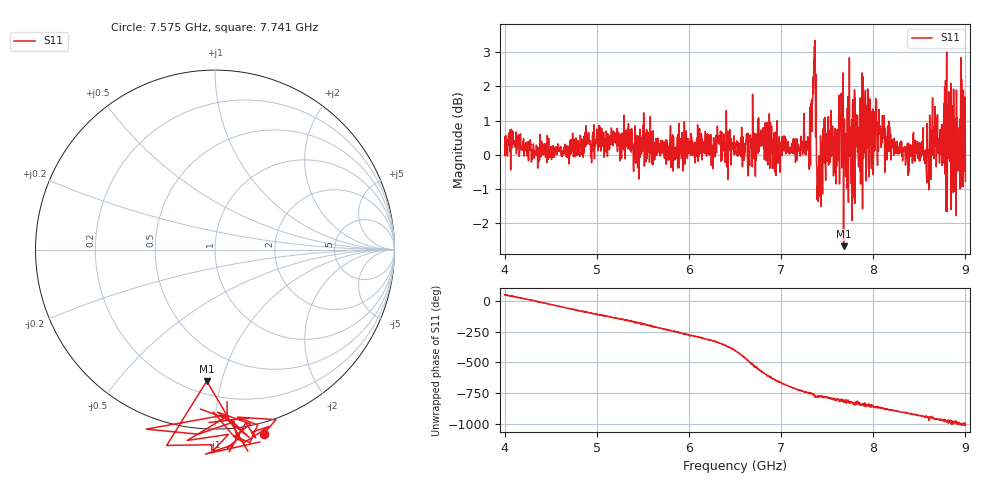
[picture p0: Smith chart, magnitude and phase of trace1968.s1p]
! Created with skrf 1.8.0 (http://scikit-rf.org).
# Hz S RI R 50.0
!freq ReS11 ImS11
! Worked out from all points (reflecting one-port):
!   1601 points, 4 GHz to 9 GHz, reference 50 ohm
!   lowest |S11| = -2.7 dB at 7.678 GHz (marker M1), VSWR 6.51, Z = 14.2 - j44.9 ohm
!   phase of S11 starts at 49 deg and turns -1050 deg over the sweep
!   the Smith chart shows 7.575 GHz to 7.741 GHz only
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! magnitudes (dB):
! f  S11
! 4 GHz  0.2
! 4.625 GHz  -0.1
! 5.25 GHz  -0.2
! 5.875 GHz  0.5
! 6.5 GHz  0.0
! 6.662 GHz  0.2
! 6.781 GHz  0.7
! 7.125 GHz  0.2
! 7.294 GHz  0.1
! 7.353 GHz  2.0
! 7.409 GHz  -1.2
! 7.481 GHz  -0.5
! 7.591 GHz  0.4
! 7.65 GHz  0.8
! 7.678 GHz  -2.7
! 7.703 GHz  -0.7
! 7.75 GHz  0.6
! 7.775 GHz  1.4
! 8.05 GHz  1.0
! 8.375 GHz  -0.3
! 8.456 GHz  -0.2
! 8.584 GHz  0.9
! 8.656 GHz  0.8
! 8.725 GHz  0.7
! 8.822 GHz  0.7
! 8.875 GHz  0.9
! 8.972 GHz  0.4
! 9 GHz  -0.8
